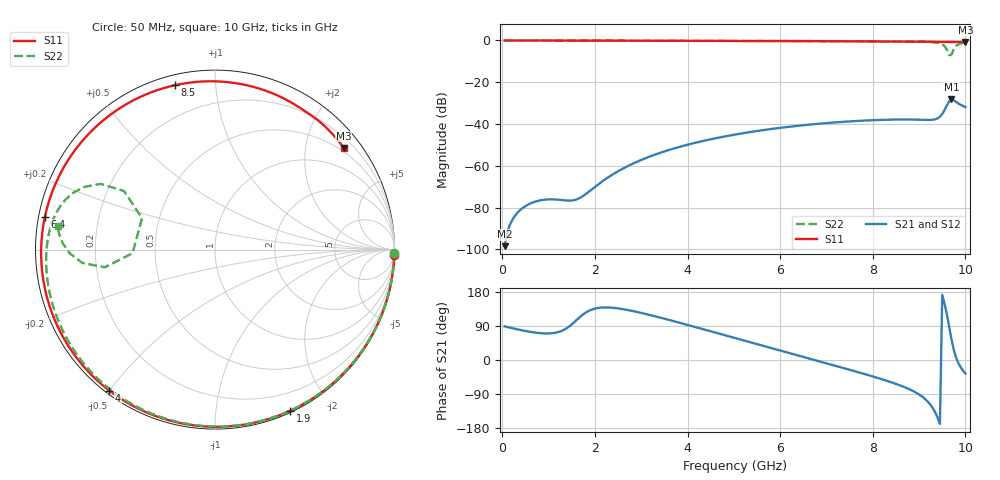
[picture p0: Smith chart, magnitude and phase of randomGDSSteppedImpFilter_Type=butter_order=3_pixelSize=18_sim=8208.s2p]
! freq	dB(S11)	phase(S11)	dB(S12)	phase(S12)
!  dB(S21)	phase(S21)	dB(S22)	phase(S22)
!S-par simulation data
#  GHz  S  DB  R 50
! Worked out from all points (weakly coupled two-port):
!   200 points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, 50 MHz to 10 GHz, reference 50 ohm
!   highest |S21| = -28.27 dB at 9.7 GHz (marker M1); lowest = -98.5 dB at 50 MHz (marker M2)
!   lowest |S11| = -0.8 dB at 10 GHz (marker M3), VSWR 22.38, Z = 20.5 + j142 ohm
!   |S11| at or under -10 dB: nowhere
!   |S22| runs from -7.1 to 0.0 dB; largest |S21 - S12| = 0
!   S11 on the Smith chart (normalised r, x): 50 MHz: 0, -64; 1.9 GHz: 0.02, -1.57; 4 GHz: 0.01, -0.50; 6.4 GHz: 0.02, +0.10; 8.5 GHz: 0.05, +0.78; 10 GHz: 0.41, +2.83
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0.05  -0.00 -1.8  -98.51 88.7  -98.51 88.7  -0.00 -1.1
0.45  -0.02 -15.9  -80.09 77.7  -80.09 77.7  -0.01 -10.0
0.85  -0.04 -29.9  -76.44 70.5  -76.44 70.5  -0.02 -18.8
1.5  -0.06 -51.9  -76.64 93.9  -76.64 93.9  -0.04 -32.9
1.75  -0.08 -60.1  -74.39 120.8  -74.39 120.8  -0.05 -38.3
1.9  -0.08 -65.0  -71.91 131.5  -71.91 131.5  -0.05 -41.5
2.6  -0.11 -86.8  -61.41 134.3  -61.41 134.3  -0.07 -56.1
3.4  -0.14 -110.2  -53.87 112.2  -53.87 112.2  -0.10 -72.4
4  -0.16 -126.8  -49.93 92.6  -49.93 92.6  -0.12 -84.2
5.05  -0.21 -154.9  -44.97 57.2  -44.97 57.2  -0.16 -104.3
6.4  -0.31 169.0  -40.82 11.7  -40.82 11.7  -0.24 -129.5
6.7  -0.33 160.7  -40.15 1.5  -40.15 1.5  -0.26 -135.1
7.5  -0.41 137.2  -38.76 -25.7  -38.76 -25.7  -0.34 -150.2
8.35  -0.50 109.2  -37.93 -56.7  -37.93 -56.7  -0.44 -167.5
8.5  -0.51 103.8  -37.87 -63.0  -37.87 -63.0  -0.46 -170.7
9.35  -0.65 69.8  -37.73 -138.7  -37.73 -138.7  -0.96 164.3
9.55  -0.71 60.8  -33.36 148.4  -33.36 148.4  -2.69 150.1
9.65  -0.73 56.2  -29.10 88.2  -29.10 88.2  -7.08 156.7
9.7  -0.72 53.8  -28.27 54.5  -28.27 54.5  -6.74 -177.5
9.75  -0.72 51.3  -28.63 26.4  -28.63 26.4  -4.12 -170.9
9.85  -0.73 46.1  -30.24 -8.4  -30.24 -8.4  -1.82 -178.6
10  -0.78 38.2  -31.91 -35.7  -31.91 -35.7  -1.05 171.6
